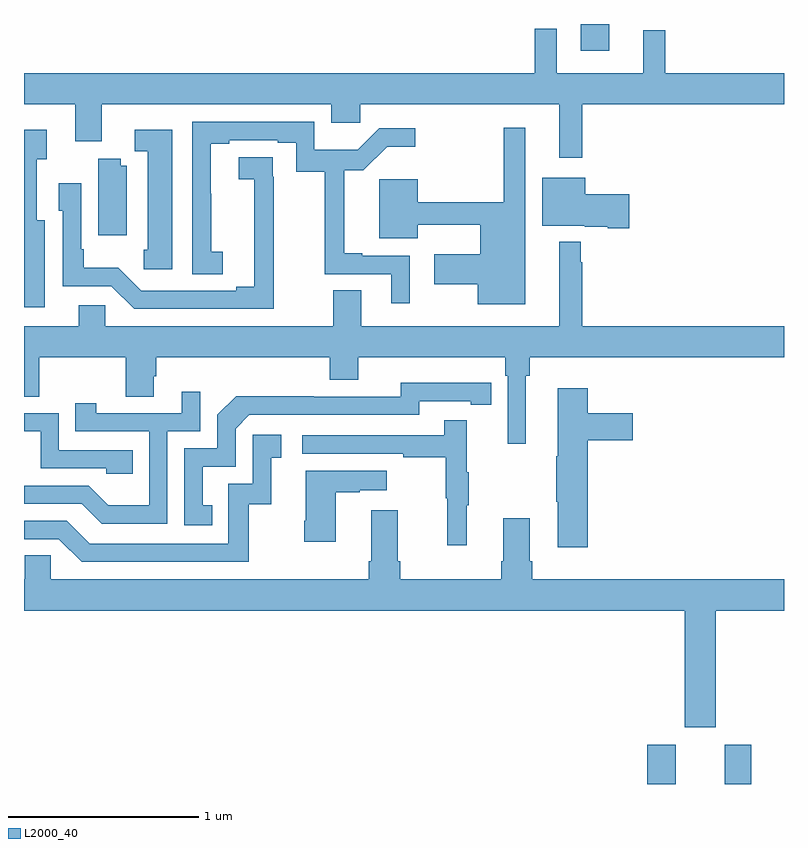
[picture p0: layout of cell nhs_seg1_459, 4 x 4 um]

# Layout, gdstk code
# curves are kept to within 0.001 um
import gdstk
lib = gdstk.Library(unit=1e-6, precision=1e-09)
def R(c, l, rs):  # rectangles x0, y0, x1, y1
    for r in rs: c.add(gdstk.rectangle(r[:2], r[2:], *l))
def P(c, l, *ps):  # polygons
    for p in ps: c.add(gdstk.Polygon(p, *l))
L2000_40 = (2000, 40)

nhs_seg1_459 = lib.new_cell('nhs_seg1_459')
R(nhs_seg1_459, L2000_40, [(140.279,504.199,140.431,504.406), (140.687,504.199,140.827,504.406), (139.931,508.058,140.08,508.199)])
P(nhs_seg1_459, L2000_40, [(139.939,507.776),(141,507.776),(141,507.94),(140.375,507.94),(140.375,508.165),(140.258,508.165),(140.258,507.94),(139.803,507.94),(139.803,508.174),(139.687,508.174),(139.687,507.94),(137,507.94),(137,507.776),(137.27,507.776),(137.27,507.582),(137.41,507.582),(137.41,507.776),(138.617,507.776),(138.617,507.678),(138.769,507.678),(138.769,507.776),(139.817,507.776),(139.817,507.495),(139.939,507.495)],
  [(139.029,506.979),(138.781,506.979),(138.781,506.992),(138.686,506.992),(138.686,507.429),(138.785,507.429),(138.911,507.554),(139.06,507.554),(139.06,507.651),(138.87,507.651),(138.757,507.538),(138.528,507.538),(138.528,507.684),(137.886,507.684),(137.886,506.881),(138.046,506.881),(138.046,507.001),(137.985,507.001),(137.985,507.305),(137.983,507.305),(137.983,507.568),(138.079,507.568),(138.079,507.588),(138.335,507.588),(138.335,507.574),(138.432,507.574),(138.432,507.421),(138.583,507.421),(138.583,506.883),(138.932,506.883),(138.932,506.73),(139.029,506.73)],
  [(139.639,507.652),(139.525,507.652),(139.525,507.26),(139.072,507.26),(139.072,507.381),(138.869,507.381),(138.869,507.071),(139.072,507.071),(139.072,507.143),(139.4,507.143),(139.4,506.986),(139.158,506.986),(139.158,506.828),(139.388,506.828),(139.388,506.723),(139.639,506.723)],
  [(137.779,507.643),(137.583,507.643),(137.583,507.528),(137.651,507.528),(137.651,507.012),(137.629,507.012),(137.629,506.907),(137.779,506.907)],
  [(137.11,507.166),(137.068,507.166),(137.068,507.487),(137.119,507.487),(137.119,507.643),(137,507.643),(137,506.709),(137.11,506.709)],
  [(138.314,507.395),(138.308,507.395),(138.308,507.497),(138.129,507.497),(138.129,507.382),(138.211,507.382),(138.212,506.816),(138.116,506.816),(138.116,506.796),(137.616,506.796),(137.495,506.917),(137.314,506.917),(137.314,507.013),(137.301,507.013),(137.301,507.361),(137.184,507.361),(137.184,507.216),(137.205,507.216),(137.205,506.82),(137.46,506.82),(137.58,506.7),(138.314,506.7)],
  [(137.542,507.454),(137.51,507.454),(137.51,507.491),(137.39,507.491),(137.39,507.087),(137.542,507.087)],
  [(140.185,507.303),(139.954,507.303),(139.954,507.391),(139.727,507.391),(139.727,507.137),(139.95,507.137),(139.95,507.131),(140.072,507.131),(140.072,507.125),(140.185,507.125)],
  [(139.642,506.348),(139.661,506.348),(139.661,506.444),(141,506.444),(141,506.608),(139.939,506.608),(139.939,506.945),(139.931,506.945),(139.931,507.052),(139.817,507.052),(139.817,506.608),(138.775,506.608),(138.775,506.798),(138.628,506.798),(138.628,506.608),(137.427,506.608),(137.427,506.718),(137.288,506.718),(137.288,506.608),(137,506.608),(137,506.236),(137.079,506.236),(137.079,506.444),(137.536,506.444),(137.536,506.236),(137.683,506.236),(137.683,506.346),(137.696,506.346),(137.696,506.444),(138.608,506.444),(138.608,506.327),(138.76,506.327),(138.76,506.444),(139.532,506.444),(139.532,506.348),(139.545,506.348),(139.545,505.989),(139.642,505.989)],
  [(137.99,505.665),(137.941,505.665),(137.941,505.869),(138.114,505.869),(138.114,506.07),(138.186,506.142),(139.08,506.142),(139.08,506.214),(139.352,506.214),(139.352,506.194),(139.46,506.194),(139.46,506.31),(138.984,506.311),(138.984,506.238),(138.524,506.238),(138.524,506.24),(138.116,506.24),(138.018,506.142),(138.018,505.965),(137.844,505.965),(137.844,505.56),(137.99,505.56)],
  [(139.967,506.009),(140.203,506.009),(140.203,506.151),(139.967,506.151),(139.967,506.281),(139.808,506.281),(139.808,505.925),(139.801,505.925),(139.801,505.684),(139.808,505.684),(139.808,505.446),(139.967,505.446)],
  [(137.754,506.055),(137.928,506.055),(137.928,506.263),(137.831,506.263),(137.831,506.151),(137.38,506.151),(137.38,506.203),(137.269,506.203),(137.269,506.055),(137.658,506.055),(137.658,505.666),(137.444,505.666),(137.34,505.77),(137,505.77),(137,505.674),(137.303,505.674),(137.408,505.569),(137.754,505.569)],
  [(137.573,505.956),(137.184,505.956),(137.184,506.151),(137,506.151),(137,506.055),(137.088,506.055),(137.088,505.86),(137.433,505.86),(137.433,505.833),(137.573,505.833)],
  [(139.331,505.667),(139.342,505.667),(139.342,505.841),(139.331,505.841),(139.331,506.113),(139.213,506.113),(139.213,506.034),(138.465,506.034),(138.465,505.938),(138.997,505.938),(138.997,505.918),(139.221,505.918),(139.221,505.704),(139.228,505.704),(139.228,505.455),(139.331,505.455)],
  [(138.184,505.671),(138.302,505.671),(138.302,505.917),(138.355,505.917),(138.355,506.038),(138.204,506.038),(138.204,505.779),(138.075,505.779),(138.075,505.464),(137.346,505.464),(137.226,505.584),(137,505.584),(137,505.488),(137.184,505.488),(137.304,505.368),(138.184,505.368)],
  [(138.64,505.735),(138.767,505.735),(138.767,505.745),(138.91,505.745),(138.91,505.849),(138.482,505.849),(138.482,505.585),(138.475,505.585),(138.475,505.473),(138.64,505.473)],
  [(140.641,505.112),(141,505.112),(141,505.276),(139.676,505.276),(139.676,505.372),(139.663,505.372),(139.663,505.597),(139.523,505.597),(139.523,505.372),(139.511,505.372),(139.511,505.276),(138.98,505.276),(138.98,505.372),(138.967,505.372),(138.967,505.639),(138.827,505.639),(138.827,505.372),(138.815,505.372),(138.815,505.276),(137.142,505.276),(137.142,505.403),(137.003,505.403),(137.003,505.276),(137,505.276),(137,505.112),(140.477,505.112),(140.477,504.498),(140.641,504.498)])

lib.write_gds('nhs_seg1_459.gds')
